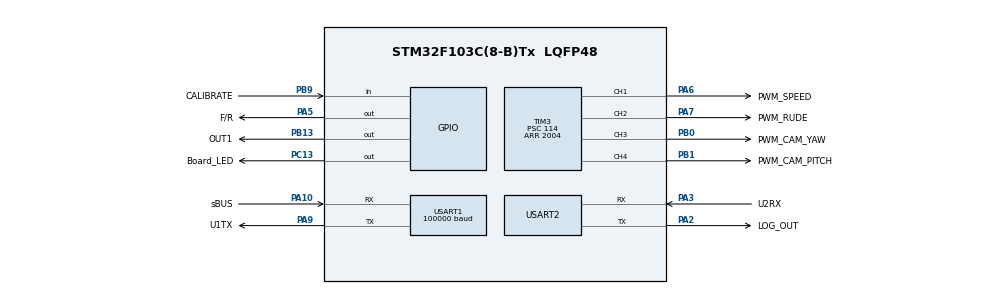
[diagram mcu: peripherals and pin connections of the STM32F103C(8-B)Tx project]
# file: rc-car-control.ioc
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IWDG.Prescaler=IWDG_PRESCALER_64
IWDG.Reload=1000
Mcu.Family=STM32F1
Mcu.Name=STM32F103C(8-B)Tx
Mcu.Package=LQFP48
NVIC.PriorityGroup=NVIC_PRIORITYGROUP_4
NVIC.USART1_IRQn=true\:0\:0\:false\:false\:true\:true\:true
NVIC.USART2_IRQn=true\:0\:0\:false\:false\:true\:true\:true
PA10.GPIO_Label=sBUS
PA10.GPIO_PuPd=GPIO_NOPULL
PA10.Mode=Asynchronous
PA10.Signal=USART1_RX
PA13.Mode=Serial_Wire
PA13.Signal=SYS_JTMS-SWDIO
PA14.Mode=Serial_Wire
PA14.Signal=SYS_JTCK-SWCLK
PA2.GPIO_Label=LOG_OUT
PA2.Mode=Asynchronous
PA2.Signal=USART2_TX
PA3.GPIO_Label=U2RX
PA3.GPIO_PuPd=GPIO_PULLUP
PA3.Mode=Asynchronous
PA3.Signal=USART2_RX
PA5.GPIO_Label=F/R
PA5.GPIO_Speed=GPIO_SPEED_FREQ_HIGH
PA5.Signal=GPIO_Output
PA6.GPIO_Label=PWM_SPEED
PA6.Signal=S_TIM3_CH1
PA7.GPIO_Label=PWM_RUDE
PA7.Signal=S_TIM3_CH2
PA9.GPIO_Label=U1TX
PA9.Mode=Asynchronous
PA9.Signal=USART1_TX
PB0.GPIO_Label=PWM_CAM_YAW
PB0.Signal=S_TIM3_CH3
PB1.GPIO_Label=PWM_CAM_PITCH
PB1.Signal=S_TIM3_CH4
PB13.GPIO_Label=OUT1
PB13.Signal=GPIO_Output
PB9.GPIO_Label=CALIBRATE
PB9.GPIO_PuPd=GPIO_PULLDOWN
PB9.Signal=GPIO_Input
PC13-TAMPER-RTC.GPIO_Label=Board_LED
PC13-TAMPER-RTC.GPIO_Speed=GPIO_SPEED_FREQ_MEDIUM
PC13-TAMPER-RTC.Signal=GPIO_Output
PC14-OSC32_IN.Mode=LSE-External-Oscillator
PC14-OSC32_IN.Signal=RCC_OSC32_IN
PC15-OSC32_OUT.Mode=LSE-External-Oscillator
PC15-OSC32_OUT.Signal=RCC_OSC32_OUT
PD0-OSC_IN.Mode=HSE-External-Oscillator
PD0-OSC_IN.Signal=RCC_OSC_IN
PD1-OSC_OUT.Mode=HSE-External-Oscillator
PD1-OSC_OUT.Signal=RCC_OSC_OUT
ProjectManager.HeapSize=0x200
ProjectManager.StackSize=0x400
ProjectManager.TargetToolchain=STM32CubeIDE
RCC.AHBFreq_Value=48000000
RCC.APB1CLKDivider=RCC_HCLK_DIV4
RCC.APB1Freq_Value=12000000
RCC.APB1TimFreq_Value=24000000
RCC.APB2CLKDivider=RCC_HCLK_DIV4
RCC.APB2Freq_Value=12000000
RCC.APB2TimFreq_Value=24000000
RCC.HCLKFreq_Value=48000000
RCC.LSE_Timout=500
RCC.PLLMUL=RCC_PLL_MUL6
RCC.PLLSourceVirtual=RCC_PLLSOURCE_HSE
RCC.RCC_MCOSource=RCC_MCO1SOURCE_PLLCLK
RCC.RTCClockSelection=RCC_RTCCLKSOURCE_LSE
RCC.SYSCLKFreq_VALUE=48000000
RCC.SYSCLKSource=RCC_SYSCLKSOURCE_PLLCLK
RCC.TimSys_Div=SYSTICK_CLKSOURCE_HCLK_DIV8
RCC.USBFreq_Value=48000000
SH.S_TIM3_CH1.0=TIM3_CH1,PWM Generation1 CH1
SH.S_TIM3_CH2.0=TIM3_CH2,PWM Generation2 CH2
SH.S_TIM3_CH3.0=TIM3_CH3,PWM Generation3 CH3
SH.S_TIM3_CH4.0=TIM3_CH4,PWM Generation4 CH4
TIM3.Channel-PWM\ Generation1\ CH1=TIM_CHANNEL_1
TIM3.Channel-PWM\ Generation2\ CH2=TIM_CHANNEL_2
TIM3.Channel-PWM\ Generation3\ CH3=TIM_CHANNEL_3
TIM3.Channel-PWM\ Generation4\ CH4=TIM_CHANNEL_4
TIM3.Period=2004
TIM3.Prescaler=114
TIM3.Pulse-PWM\ Generation1\ CH1=990
TIM3.Pulse-PWM\ Generation2\ CH2=1001
TIM3.Pulse-PWM\ Generation3\ CH3=1001
TIM3.Pulse-PWM\ Generation4\ CH4=1001
USART1.BaudRate=100000
USART1.Mode=MODE_RX
USART1.Parity=PARITY_EVEN
USART1.StopBits=STOPBITS_2
USART1.VirtualMode=VM_ASYNC
USART1.WordLength=WORDLENGTH_9B
USART2.Parity=PARITY_EVEN
USART2.StopBits=STOPBITS_2
USART2.VirtualMode=VM_ASYNC
USART2.WordLength=WORDLENGTH_9B
VP_IWDG_VS_IWDG.Mode=IWDG_Activate
VP_TIM3_VS_ClockSourceINT.Mode=Internal
board=custom

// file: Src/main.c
/* USER CODE BEGIN Header */
/**
  ******************************************************************************
  * @file           : main.c
  * @brief          : Main program body
  ******************************************************************************
  * @attention
  *
  * <h2><center>&copy; Copyright (c) 2021 STMicroelectronics.
  * All rights reserved.</center></h2>
  *
  * This software component is licensed by ST under BSD 3-Clause license,
  * the "License"; You may not use this file except in compliance with the
  * License. You may obtain a copy of the License at:
  *                        opensource.org/licenses/BSD-3-Clause
  *
  ******************************************************************************
  */
/* USER CODE END Header */
#include "main.h"
#include "iwdg.h"
#include "tim.h"
#include "usart.h"
#include "gpio.h"

/* USER CODE BEGIN Includes */
#include <stdio.h>
#include <stdlib.h>
#include <string.h>
#include "systick.h"
#include "logger.h"
#include "eeprom.h"
#include "sbus.h"
/* USER CODE END Includes */

/* USER CODE BEGIN PTD */

typedef struct {
	uint16_t rudder;
	uint16_t throttle;
	uint16_t cam_yaw;
	uint16_t cam_pitch;
	uint16_t out1;
} MixedControls_TypeDef;

typedef struct {
	uint8_t rudder_ch_num;
	uint8_t throttle_ch_num;
	uint8_t cam_yaw_ch_num;
	uint8_t cam_pitch_ch_num;
	uint8_t out1_ch_num;
} ControlsMixerParams_TypeDef;

typedef struct {
	uint16_t rudder_min;
	uint16_t rudder_center;
	uint16_t rudder_max;
	uint16_t throttle_min;
	uint16_t throttle_center;
	uint16_t throttle_max;
	uint16_t cam_yaw_min;
	uint16_t cam_yaw_center;
	uint16_t cam_yaw_max;
	uint16_t cam_pitch_min;
	uint16_t cam_pitch_center;
	uint16_t cam_pitch_max;
	uint16_t out1_min;
	uint16_t out1_lo_thr;
	uint16_t out1_hi_thr;
	uint16_t out1_max;
} ControlsClipParams_TypeDef;

typedef struct {
	int8_t rudder;
	int8_t throttle;
	int8_t cam_yaw;
	int8_t cam_pitch;
	uint8_t out1;
} AbstractControls_TypeDef;

/* USER CODE END PTD */

/* USER CODE BEGIN PD */
#define TOTAL_EEPROM_DATA_SIZE	16

#define EE_ADDR_RUDDER_MIN		((uint16_t) 0x0100)
#define EE_ADDR_RUDDER_CENT		((uint16_t) 0x0101)
#define EE_ADDR_RUDDER_MAX		((uint16_t) 0x0102)
#define EE_ADDR_THROT_MIN		((uint16_t) 0x0103)
#define EE_ADDR_THROT_CENT		((uint16_t) 0x0104)
#define EE_ADDR_THROT_MAX		((uint16_t) 0x0105)
#define EE_ADDR_CAMYAW_MIN		((uint16_t) 0x0106)
#define EE_ADDR_CAMYAW_CENT		((uint16_t) 0x0107)
#define EE_ADDR_CAMYAW_MAX		((uint16_t) 0x0108)
#define EE_ADDR_CAMPIT_MIN		((uint16_t) 0x0109)
#define EE_ADDR_CAMPIT_CENT		((uint16_t) 0x010A)
#define EE_ADDR_CAMPIT_MAX		((uint16_t) 0x010B)
#define EE_ADDR_OUT1_MIN		((uint16_t) 0x010C)
#define EE_ADDR_OUT1_LOTH		((uint16_t) 0x010D)
#define EE_ADDR_OUT1_HITH		((uint16_t) 0x010E)
#define EE_ADDR_OUT1_MAX		((uint16_t) 0x010F)

/* USER CODE END PD */

/* USER CODE BEGIN PV */
uint16_t EepromAllVirtAddrTable[TOTAL_EEPROM_DATA_SIZE] = {	EE_ADDR_RUDDER_MIN, EE_ADDR_RUDDER_CENT, EE_ADDR_RUDDER_MAX, EE_ADDR_THROT_MIN,  EE_ADDR_THROT_CENT,  EE_ADDR_THROT_MAX,
															EE_ADDR_CAMYAW_MIN, EE_ADDR_CAMYAW_CENT, EE_ADDR_CAMYAW_MAX, EE_ADDR_CAMPIT_MIN, EE_ADDR_CAMPIT_CENT, EE_ADDR_CAMPIT_MAX,
															EE_ADDR_OUT1_MIN, EE_ADDR_OUT1_LOTH, EE_ADDR_OUT1_HITH, EE_ADDR_OUT1_MAX};

static uint8_t log_buffer[120];

static ControlsMixerParams_TypeDef controls_mix_params = {
		SBUS_CH_NUM_RUDDER,
		SBUS_CH_NUM_THROTTLE,
		SBUS_CH_NUM_CAM_YAW,
		SBUS_CH_NUM_CAM_PITCH,
		SBUS_CH_NUM_OUT1
};
static ControlsClipParams_TypeDef controls_clip_params = {0};
static SBUS_Frame_TypeDef raw_sbus_frame = {0};
static MixedControls_TypeDef mixed_controls_raw = {0};
static MixedControls_TypeDef mixed_controls_clipped = {0};
static AbstractControls_TypeDef abstract_controls = {0};

/* Virtual address defined by the user: 0xFFFF value is prohibited */
uint16_t EepromAllVirtAddrTable[TOTAL_EEPROM_DATA_SIZE];

/* USER CODE END PV */

void SystemClock_Config(void);
/* USER CODE BEGIN PFP */

/**
 * @brief  Reads calibration data from EEPROM and save it to the dst parameter
 * @retval int 1 - calibration data was found; 0 - calibration data was not found
 */
static uint8_t RestoreControlClipParams(ControlsClipParams_TypeDef *dst);
static void SaveControlClipParams(ControlsClipParams_TypeDef *clip_params);
static void MixControlsFromSBUS(SBUS_Frame_TypeDef *sbus_frame_in, MixedControls_TypeDef *raw_controls_out, ControlsMixerParams_TypeDef *mix_params);
static void ClipMixedControls(MixedControls_TypeDef *new_controls, MixedControls_TypeDef *clipped_out, ControlsClipParams_TypeDef *clip_params);
static uint16_t ClipValue(uint16_t x, uint16_t min, uint16_t cent, uint16_t max, uint16_t protect_percent);
static void UpdateCalibrationWithNewData(MixedControls_TypeDef *raw_controls);
static void MapClippedControlsToAbstractInterval(MixedControls_TypeDef *src, ControlsClipParams_TypeDef *clip_params, AbstractControls_TypeDef *dst);
static int8_t MapValueToAbstract(uint16_t x, uint16_t min, uint16_t center, uint16_t max);

/* USER CODE END PFP */

int main(void)
{

  /* MCU Configuration--------------------------------------------------------*/

  /* Reset of all peripherals, Initializes the Flash interface and the Systick. */

  LL_APB2_GRP1_EnableClock(LL_APB2_GRP1_PERIPH_AFIO);
  LL_APB1_GRP1_EnableClock(LL_APB1_GRP1_PERIPH_PWR);

  NVIC_SetPriorityGrouping(NVIC_PRIORITYGROUP_4);

  /* System interrupt init*/
  /* SysTick_IRQn interrupt configuration */
  NVIC_SetPriority(SysTick_IRQn, NVIC_EncodePriority(NVIC_GetPriorityGrouping(),15, 0));

  /** NOJTAG: JTAG-DP Disabled and SW-DP Enabled
  */
  LL_GPIO_AF_Remap_SWJ_NOJTAG();

  /* Configure the system clock */
  SystemClock_Config();

  /* USER CODE BEGIN SysInit */
  SysTick->CTRL  &= ~SysTick_CTRL_CLKSOURCE_Msk;
  SYS_ClearTick();
  SYS_IncTick();
  SYS_IncTick();
  SYS_ResumeTick();
  FLASH_Unlock();
  /* USER CODE END SysInit */

  /* Initialize all configured peripherals */
  MX_GPIO_Init();
  MX_TIM3_Init();
  MX_USART1_UART_Init();
  MX_USART2_UART_Init();
  MX_IWDG_Init();
  /* USER CODE BEGIN 2 */

  EE_Init(EepromAllVirtAddrTable, TOTAL_EEPROM_DATA_SIZE);		// EEPROM Init
  LOG_ResetLogger(USART_LOG);									// Logger Init
  SBUS_Init();
  GPIO_BOARD_Led_OFF();

  /* USER CODE END 2 */

  /* Infinite loop */
  /* USER CODE BEGIN WHILE */
  uint32_t t_now;
  uint16_t n_bytes;
  uint32_t main_frame_log_last_time = SYS_GetTick();

  uint8_t is_in_calibration_mode = !RestoreControlClipParams(&controls_clip_params) || GPIO_IsCalibrationON();
  uint8_t is_first_sbus_frame = 1;

  if (is_in_calibration_mode) {
	  n_bytes = sprintf((char *)log_buffer, "\r\nStart calibration mode\r\n");
	  LOG_SendLog(log_buffer, 0, n_bytes);
  }

  while (1)
  {
	  t_now = SYS_GetTick();

	  if (SBUS_IsData_Ready())
	  {
		  SBUS_GetData(&raw_sbus_frame);

		  MixControlsFromSBUS(&raw_sbus_frame, &mixed_controls_raw, &controls_mix_params);

		  if (is_in_calibration_mode)
		  {
			  UpdateCalibrationWithNewData(&mixed_controls_raw);
		  }
		  else
		  {

			  ClipMixedControls(&mixed_controls_raw, &mixed_controls_clipped, &controls_clip_params);

			  MapClippedControlsToAbstractInterval(&mixed_controls_clipped, &controls_clip_params, &abstract_controls);

			  if ((t_now - main_frame_log_last_time) > 400)
			  {
				  main_frame_log_last_time = t_now;
				  n_bytes = sprintf((char *)log_buffer, "\r\n\n\n----------------------------------------------------------------\r\nthrot\t\trud\t\tyaw\t\tpitch\t\tout1\r\n");
				  LOG_SendLog(log_buffer, 0, n_bytes);
				  n_bytes = sprintf((char *)log_buffer, "%d\t\t%d\t\t%d\t\t%d\t\t%d\r\n", mixed_controls_raw.throttle, mixed_controls_raw.rudder, mixed_controls_raw.cam_yaw, mixed_controls_raw.cam_pitch, mixed_controls_raw.out1);
				  LOG_SendLog(log_buffer, 0, n_bytes);
				  n_bytes = sprintf((char *)log_buffer, "%d\t\t%d\t\t%d\t\t%d\t\t%d\r\n", mixed_controls_clipped.throttle, mixed_controls_clipped.rudder, mixed_controls_clipped.cam_yaw, mixed_controls_clipped.cam_pitch, mixed_controls_clipped.out1);
				  LOG_SendLog(log_buffer, 0, n_bytes);
				  n_bytes = sprintf((char *)log_buffer, "%d\t\t%d\t\t%d\t\t%d\t\t%d\r\n", abstract_controls.throttle, abstract_controls.rudder, abstract_controls.cam_yaw, abstract_controls.cam_pitch, abstract_controls.out1);
				  LOG_SendLog(log_buffer, 0, n_bytes);
			  }

			  //TODO Implement Further !!!!!!!!!!!!!!!!!!!!!!!!!!!!!!!!!!!!!!!!!!!!!!!!!!!!!!!!!!!!

		  }

		  is_first_sbus_frame = 0;
	  }
    /* USER CODE END WHILE */

    /* USER CODE BEGIN 3 */
	  MX_IWDG_Init();
  }
  /* USER CODE END 3 */
}

void SystemClock_Config(void)
{
  LL_FLASH_SetLatency(LL_FLASH_LATENCY_1);
  while(LL_FLASH_GetLatency()!= LL_FLASH_LATENCY_1)
  {
  }
  LL_RCC_HSE_Enable();

   /* Wait till HSE is ready */
  while(LL_RCC_HSE_IsReady() != 1)
  {

  }
  LL_RCC_LSI_Enable();

   /* Wait till LSI is ready */
  while(LL_RCC_LSI_IsReady() != 1)
  {

  }
  LL_RCC_PLL_ConfigDomain_SYS(LL_RCC_PLLSOURCE_HSE_DIV_1, LL_RCC_PLL_MUL_6);
  LL_RCC_PLL_Enable();

   /* Wait till PLL is ready */
  while(LL_RCC_PLL_IsReady() != 1)
  {

  }
  LL_RCC_SetAHBPrescaler(LL_RCC_SYSCLK_DIV_1);
  LL_RCC_SetAPB1Prescaler(LL_RCC_APB1_DIV_4);
  LL_RCC_SetAPB2Prescaler(LL_RCC_APB2_DIV_4);
  LL_RCC_SetSysClkSource(LL_RCC_SYS_CLKSOURCE_PLL);

   /* Wait till System clock is ready */
  while(LL_RCC_GetSysClkSource() != LL_RCC_SYS_CLKSOURCE_STATUS_PLL)
  {

  }
  LL_Init1msTick(6000000);
  LL_SetSystemCoreClock(48000000);
}

/* USER CODE BEGIN 4 */
void USART1_RX_Callback(void)
{
	uint8_t data = LL_USART_ReceiveData8(USART1);
	SBUS_OnData_Received(data);
}

void USART2_TX_Callback(void)
{
	LOG_EvaluateDataSend();
	if(!LOG_IsInProgress()) {
		LL_USART_DisableIT_TXE(USART_LOG);
	}
}

static void MixControlsFromSBUS(SBUS_Frame_TypeDef *sbus_frame_in, MixedControls_TypeDef *raw_controls_out, ControlsMixerParams_TypeDef *mix_params)
{
	raw_controls_out->rudder = sbus_frame_in->servo_channels[mix_params->rudder_ch_num - 1];
	raw_controls_out->throttle = sbus_frame_in->servo_channels[mix_params->throttle_ch_num - 1];
	raw_controls_out->cam_yaw = sbus_frame_in->servo_channels[mix_params->cam_yaw_ch_num - 1];
	raw_controls_out->cam_pitch = sbus_frame_in->servo_channels[mix_params->cam_pitch_ch_num - 1];
	raw_controls_out->out1 = sbus_frame_in->servo_channels[mix_params->out1_ch_num - 1];
}

static void ClipMixedControls(MixedControls_TypeDef *new_controls, MixedControls_TypeDef *clipped_out, ControlsClipParams_TypeDef *clip_params)
{
	uint16_t clipped_value;

	clipped_value = ClipValue(new_controls->rudder, clip_params->rudder_min, clip_params->rudder_center, clip_params->rudder_max, CLIP_CENTER_PROTECTION_INTERVAL_PERCENT);
	clipped_out->rudder = clipped_value;

	clipped_value = ClipValue(new_controls->throttle, clip_params->throttle_min, clip_params->throttle_center, clip_params->throttle_max, CLIP_CENTER_PROTECTION_INTERVAL_PERCENT);
	clipped_out->throttle = clipped_value;

	clipped_value = ClipValue(new_controls->cam_yaw, clip_params->cam_yaw_min, clip_params->cam_yaw_center, clip_params->cam_yaw_max, CLIP_CENTER_PROTECTION_INTERVAL_PERCENT);
	clipped_out->cam_yaw = clipped_value;

	clipped_value = ClipValue(new_controls->cam_pitch, clip_params->cam_pitch_min, clip_params->cam_pitch_center, clip_params->cam_pitch_max, CLIP_CENTER_PROTECTION_INTERVAL_PERCENT);
	clipped_out->cam_pitch = clipped_value;

	if (new_controls->out1 > clip_params->out1_hi_thr)
	{
		clipped_value = clip_params->out1_max;
	}
	else if (new_controls->out1 < clip_params->out1_lo_thr)
	{
		clipped_value = clip_params->out1_min;
	}
	else if (clipped_out->out1 > 0)
	{
		if (clipped_out->out1 > clip_params->out1_hi_thr) {
			clipped_value = clip_params->out1_max;
		}
		else if (clipped_out->out1 < clip_params->out1_lo_thr)
		{
			clipped_value = clip_params->out1_min;
		}
	}
	else {
		clipped_value = clip_params->out1_min;
	}
	clipped_out->out1 = clipped_value;
}

static uint16_t ClipValue(uint16_t x, uint16_t min, uint16_t cent, uint16_t max, uint16_t protect_percent)
{
	uint32_t i_delta = (max - min) * protect_percent / 100;
	uint32_t i_th_lo = cent - i_delta;
	uint32_t i_th_hi = cent + i_delta;

	uint32_t y;
	if (x > max) {

		y = max;

	} else if (x > i_th_hi) {

		y = cent + (x - i_th_hi) * (max - cent) / (max - i_th_hi);

	} else if (x < min) {

		y = min;

	}  else if (x < i_th_lo) {

		y = min + (x - min) * (cent - min) / (i_th_lo - min);

	} else {

		y = cent;

	}

	return (uint16_t) y;
}

static void UpdateCalibrationWithNewData(MixedControls_TypeDef *raw_controls)
{
	static uint32_t n_frames = 0;
	static ControlsClipParams_TypeDef clip_params = {0};

	static uint32_t last_log = 0;

	uint16_t n_bytes;
	uint32_t t_now = SYS_GetTick();

	uint8_t upd_cent;

	if ((raw_controls->rudder < ABS_MIN_CHANNEL_VALUE_FOR_CALIBRATION) || (raw_controls->rudder > ABS_MAX_CHANNEL_VALUE_FOR_CALIBRATION)) {
		return;
	} else if ((raw_controls->throttle < ABS_MIN_CHANNEL_VALUE_FOR_CALIBRATION) || (raw_controls->throttle > ABS_MAX_CHANNEL_VALUE_FOR_CALIBRATION)) {
		return;
	} else if ((raw_controls->cam_yaw < ABS_MIN_CHANNEL_VALUE_FOR_CALIBRATION) || (raw_controls->cam_yaw > ABS_MAX_CHANNEL_VALUE_FOR_CALIBRATION)) {
		return;
	} else if ((raw_controls->cam_pitch < ABS_MIN_CHANNEL_VALUE_FOR_CALIBRATION) || (raw_controls->cam_pitch > ABS_MAX_CHANNEL_VALUE_FOR_CALIBRATION)) {
		return;
	} else if ((raw_controls->out1 < ABS_MIN_CHANNEL_VALUE_FOR_CALIBRATION) || (raw_controls->out1 > ABS_MAX_CHANNEL_VALUE_FOR_CALIBRATION)) {
		return;
	}

	if (n_frames == 0) {

		clip_params.rudder_min = 	raw_controls->rudder;
		clip_params.rudder_center =	raw_controls->rudder;
		clip_params.rudder_max = 	raw_controls->rudder;
		clip_params.throttle_min = 		raw_controls->throttle;
		clip_params.throttle_center =	raw_controls->throttle;
		clip_params.throttle_max = 		raw_controls->throttle;
		clip_params.cam_yaw_min = 		raw_controls->cam_yaw;
		clip_params.cam_yaw_center =	raw_controls->cam_yaw;
		clip_params.cam_yaw_max = 		raw_controls->cam_yaw;
		clip_params.cam_pitch_min = 	raw_controls->cam_pitch;
		clip_params.cam_pitch_center =	raw_controls->cam_pitch;
		clip_params.cam_pitch_max = 	raw_controls->cam_pitch;
		clip_params.out1_min = 		raw_controls->out1;
		clip_params.out1_lo_thr =	raw_controls->out1;
		clip_params.out1_hi_thr =	raw_controls->out1;
		clip_params.out1_max = 		raw_controls->out1;

	} else {

		//---- Rudder ----
		upd_cent = 0;
		if (clip_params.rudder_min > raw_controls->rudder) {
			clip_params.rudder_min = raw_controls->rudder;
			upd_cent = 1;
		}
		if (clip_params.rudder_max < raw_controls->rudder) {
			clip_params.rudder_max = raw_controls->rudder;
			upd_cent = 1;
		}
		if (upd_cent) {
			clip_params.rudder_center = (clip_params.rudder_min + clip_params.rudder_max) >> 1;
		}

		//---- Throttle ----
		upd_cent = 0;
		if (clip_params.throttle_min > raw_controls->throttle) {
			clip_params.throttle_min = raw_controls->throttle;
			upd_cent = 1;
		}
		if (clip_params.throttle_max < raw_controls->throttle) {
			clip_params.throttle_max = raw_controls->throttle;
			upd_cent = 1;
		}
		if (upd_cent) {
			clip_params.throttle_center = (clip_params.throttle_min + clip_params.throttle_max) >> 1;
		}

		//---- Camera YAW ----
		upd_cent = 0;
		if (clip_params.cam_yaw_min > raw_controls->cam_yaw) {
			clip_params.cam_yaw_min = raw_controls->cam_yaw;
			upd_cent = 1;
		}
		if (clip_params.cam_yaw_max < raw_controls->cam_yaw) {
			clip_params.cam_yaw_max = raw_controls->cam_yaw;
			upd_cent = 1;
		}
		if (upd_cent) {
			clip_params.cam_yaw_center = (clip_params.cam_yaw_min + clip_params.cam_yaw_max) >> 1;
		}

		//---- Camera PITCH ----
		upd_cent = 0;
		if (clip_params.cam_pitch_min > raw_controls->cam_pitch) {
			clip_params.cam_pitch_min = raw_controls->cam_pitch;
			upd_cent = 1;
		}
		if (clip_params.cam_pitch_max < raw_controls->cam_pitch) {
			clip_params.cam_pitch_max = raw_controls->cam_pitch;
			upd_cent = 1;
		}
		if (upd_cent) {
			clip_params.cam_pitch_center = (clip_params.cam_pitch_min + clip_params.cam_pitch_max) >> 1;
		}

		//---- OUT1 ----
		upd_cent = 0;
		if (clip_params.out1_min > raw_controls->out1) {
			clip_params.out1_min = raw_controls->out1;
			upd_cent = 1;
		}
		if (clip_params.out1_max < raw_controls->out1) {
			clip_params.out1_max = raw_controls->out1;
			upd_cent = 1;
		}
		if (upd_cent) {
			uint16_t center = (clip_params.out1_min + clip_params.out1_max) >> 1;
			uint16_t delta  = (clip_params.out1_max + clip_params.out1_min) / 10;
			clip_params.out1_lo_thr = center - delta;
			clip_params.out1_hi_thr = center + delta;
		}
	}

	if ((last_log == 0) || ((t_now - last_log) >= 900)) {
		n_bytes = sprintf((char *)log_buffer, "throttle = %d,  rudder = %d, cam_yaw = %d, cam_pitch = %d\r\n", raw_controls->throttle, raw_controls->rudder, raw_controls->cam_yaw, raw_controls->cam_pitch);
		LOG_SendLog(log_buffer, 0, n_bytes);

		n_bytes = sprintf((char *)log_buffer, "TH: %d,\t%d,\t%d;\tRUD %d,\t%d,\t%d;\tYAW %d,\t%d,\t%d;\tPIT %d,\t%d,\t%d;\r\n\n\n",
				clip_params.throttle_min, clip_params.throttle_center, clip_params.throttle_max,
				clip_params.rudder_min, clip_params.rudder_center, clip_params.rudder_max,
				clip_params.cam_yaw_min, clip_params.cam_yaw_center, clip_params.cam_yaw_max,
				clip_params.cam_pitch_min, clip_params.cam_pitch_center, clip_params.cam_pitch_max);
		LOG_SendLog(log_buffer, 0, n_bytes);

		if (last_log > 0) {
			SaveControlClipParams(&clip_params);
		}
		last_log = t_now;
	}

	n_frames ++;
}

static uint8_t RestoreControlClipParams(ControlsClipParams_TypeDef *dst)
{
	uint16_t ee_result_code;

	ee_result_code = EE_ReadVariable(EE_ADDR_RUDDER_MIN, &(dst->rudder_min));
	if (ee_result_code != EE_VAR_FOUND) return 0;
	ee_result_code = EE_ReadVariable(EE_ADDR_RUDDER_CENT, &(dst->rudder_center));
	if (ee_result_code != EE_VAR_FOUND) return 0;
	ee_result_code = EE_ReadVariable(EE_ADDR_RUDDER_MAX, &(dst->rudder_max));
	if (ee_result_code != EE_VAR_FOUND) return 0;
	ee_result_code = EE_ReadVariable(EE_ADDR_THROT_MIN, &(dst->throttle_min));
	if (ee_result_code != EE_VAR_FOUND) return 0;
	ee_result_code = EE_ReadVariable(EE_ADDR_THROT_CENT, &(dst->throttle_center));
	if (ee_result_code != EE_VAR_FOUND) return 0;
	ee_result_code = EE_ReadVariable(EE_ADDR_THROT_MAX, &(dst->throttle_max));
	if (ee_result_code != EE_VAR_FOUND) return 0;
	ee_result_code = EE_ReadVariable(EE_ADDR_CAMYAW_MIN, &(dst->cam_yaw_min));
	if (ee_result_code != EE_VAR_FOUND) return 0;
	ee_result_code = EE_ReadVariable(EE_ADDR_CAMYAW_CENT, &(dst->cam_yaw_center));
	if (ee_result_code != EE_VAR_FOUND) return 0;
	ee_result_code = EE_ReadVariable(EE_ADDR_CAMYAW_MAX, &(dst->cam_yaw_max));
	if (ee_result_code != EE_VAR_FOUND) return 0;
	ee_result_code = EE_ReadVariable(EE_ADDR_CAMPIT_MIN, &(dst->cam_pitch_min));
	if (ee_result_code != EE_VAR_FOUND) return 0;
	ee_result_code = EE_ReadVariable(EE_ADDR_CAMPIT_CENT, &(dst->cam_pitch_center));
	if (ee_result_code != EE_VAR_FOUND) return 0;
	ee_result_code = EE_ReadVariable(EE_ADDR_CAMPIT_MAX, &(dst->cam_pitch_max));
	if (ee_result_code != EE_VAR_FOUND) return 0;
	ee_result_code = EE_ReadVariable(EE_ADDR_OUT1_MIN, &(dst->out1_min));
	if (ee_result_code != EE_VAR_FOUND) return 0;
	ee_result_code = EE_ReadVariable(EE_ADDR_OUT1_LOTH, &(dst->out1_lo_thr));
	if (ee_result_code != EE_VAR_FOUND) return 0;
	ee_result_code = EE_ReadVariable(EE_ADDR_OUT1_HITH, &(dst->out1_hi_thr));
	if (ee_result_code != EE_VAR_FOUND) return 0;
	ee_result_code = EE_ReadVariable(EE_ADDR_OUT1_MAX, &(dst->out1_max));
	if (ee_result_code != EE_VAR_FOUND) return 0;
	return 1;
}

static void SaveControlClipParams(ControlsClipParams_TypeDef *clip_params)
{
	EE_WriteVariable(EE_ADDR_RUDDER_MIN, clip_params->rudder_min);
	EE_WriteVariable(EE_ADDR_RUDDER_CENT, clip_params->rudder_center);
	EE_WriteVariable(EE_ADDR_RUDDER_MAX, clip_params->rudder_max);
	EE_WriteVariable(EE_ADDR_THROT_MIN, clip_params->throttle_min);
	EE_WriteVariable(EE_ADDR_THROT_CENT, clip_params->throttle_center);
	EE_WriteVariable(EE_ADDR_THROT_MAX, clip_params->throttle_max);
	EE_WriteVariable(EE_ADDR_CAMYAW_MIN, clip_params->cam_yaw_min);
	EE_WriteVariable(EE_ADDR_CAMYAW_CENT, clip_params->cam_yaw_center);
	EE_WriteVariable(EE_ADDR_CAMYAW_MAX, clip_params->cam_yaw_max);
	EE_WriteVariable(EE_ADDR_CAMPIT_MIN, clip_params->cam_pitch_min);
	EE_WriteVariable(EE_ADDR_CAMPIT_CENT, clip_params->cam_pitch_center);
	EE_WriteVariable(EE_ADDR_CAMPIT_MAX, clip_params->cam_pitch_max);
	EE_WriteVariable(EE_ADDR_OUT1_MIN, clip_params->out1_min);
	EE_WriteVariable(EE_ADDR_OUT1_LOTH, clip_params->out1_lo_thr);
	EE_WriteVariable(EE_ADDR_OUT1_HITH, clip_params->out1_hi_thr);
	EE_WriteVariable(EE_ADDR_OUT1_MAX, clip_params->out1_max);
}

static void MapClippedControlsToAbstractInterval(MixedControls_TypeDef *src, ControlsClipParams_TypeDef *clip_params, AbstractControls_TypeDef *dst)
{
	dst->rudder = MapValueToAbstract(src->rudder, clip_params->rudder_min, clip_params->rudder_center, clip_params->rudder_max);
	dst->throttle = MapValueToAbstract(src->throttle, clip_params->throttle_min, clip_params->throttle_center, clip_params->throttle_max);
	dst->cam_yaw = MapValueToAbstract(src->cam_yaw, clip_params->cam_yaw_min, clip_params->cam_yaw_center, clip_params->cam_yaw_max);
	dst->cam_pitch = MapValueToAbstract(src->cam_pitch, clip_params->cam_pitch_min, clip_params->cam_pitch_center, clip_params->cam_pitch_max);
	dst->out1 = (src->out1 > clip_params->out1_hi_thr);
}

static int8_t MapValueToAbstract(uint16_t x, uint16_t min, uint16_t center, uint16_t max)
{
	int8_t y;
	if (x > max)
	{
		y = 100;
	}
	else if (x > center)
	{
		y = (x - center) * 100 / (max - center);
	}
	else if (x < min)
	{
		y = -100;
	}
	else if (x < center)
	{
		y = (x - min) * 100 / (center - min) - 100;
	}
	else
	{
		y = 0;
	}

	return y;
}

/* USER CODE END 4 */

void Error_Handler(void)
{
  __disable_irq();
  while (1)
  {
  }
}

/************************ (C) COPYRIGHT STMicroelectronics *****END OF FILE****/
